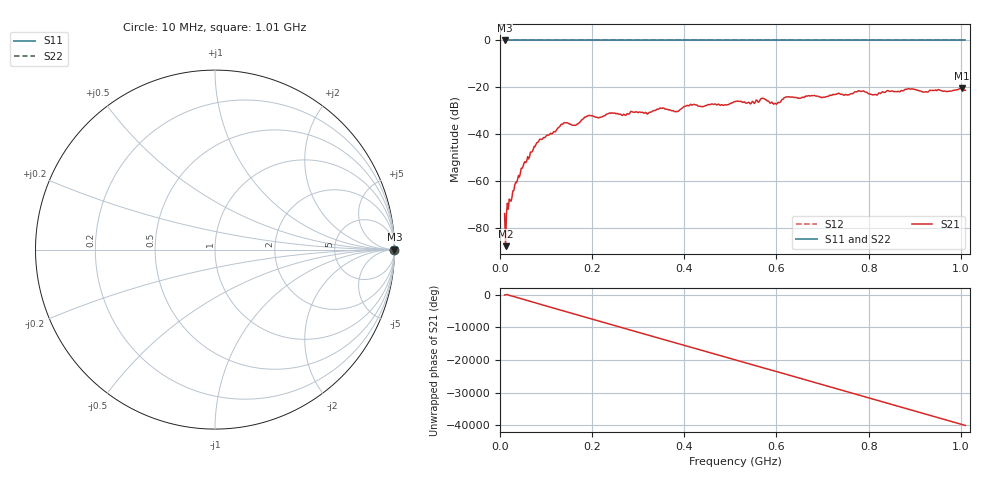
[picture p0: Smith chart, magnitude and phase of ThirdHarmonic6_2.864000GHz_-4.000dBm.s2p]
! 8/17/2025 7:48:22 AM
! C:\ANRITSUVNA\TEMP\TEMP.S2P
! CHANNEL.1
! TR.MEASUREMENT
! RAW.DATA
! RF.CORRECTION.OFF
! AVERAGING.OFF
! IF.BANDWIDTH: 5KHZ
! SWEEPTYPE:  FREQ.SWEEP(Linear)
! Reference Plane Port Info
! PORT:  PORT1  PORT2
! DISTANCE:  0  m  0  m
! TIME:  0  s  0  s
! PHASE.OFFSET:  0  deg.  0  deg.
! LOSS:  0  dB  0  dB
! REF.LOSS:  0  dB  0  dB
! REF.FREQ:  0  Hz  0  Hz
! Power Info
! POWER:  -20  dBm  -20  dBm
! EFF.POWER:  -20  dBm  -20  dBm
! SOURCE.ATTEN:  0  dB  0  dB
! TEST.ATTEN:  0  dB  0  dB
# GHZ S RI R 50.0
! FREQ.GHZ  S11RE  S11IM  S21RE  S21IM  S12RE  S12IM  S22RE  S22IM
!; PortSelection: Port_12
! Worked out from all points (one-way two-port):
!   501 points, 10 MHz to 1.01 GHz, reference 50 ohm
!   highest |S21| = -20.44 dB at 1.002 GHz (marker M1); lowest = -87.6 dB at 12 MHz (marker M2)
!   lowest |S11| = 0.0 dB at 10 MHz (marker M3)
!   |S11| at or under -10 dB: nowhere
!   |S22| runs from 0.0 to 0.0 dB; largest |S21 - S12| = 1.1
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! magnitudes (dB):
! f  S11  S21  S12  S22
! 10 MHz  0.0  -73.8  0.0  0.0
! 12 MHz  0.0  -87.6  0.0  0.0
! 50 MHz  0.0  -53.7  0.0  0.0
! 82 MHz  0.0  -43.4  0.0  0.0
! 136 MHz  0.0  -35.7  0.0  0.0
! 162 MHz  0.0  -36.2  0.0  0.0
! 178 MHz  0.0  -33.7  0.0  0.0
! 194 MHz  0.0  -31.9  0.0  0.0
! 322 MHz  0.0  -31.0  0.0  0.0
! 344 MHz  0.0  -29.3  0.0  0.0
! 382 MHz  0.0  -30.3  0.0  0.0
! 410 MHz  0.0  -27.8  0.0  0.0
! 510 MHz  0.0  -26.0  0.0  0.0
! 548 MHz  0.0  -26.0  0.0  0.0
! 570 MHz  0.0  -24.6  0.0  0.0
! 598 MHz  0.0  -26.8  0.0  0.0
! 622 MHz  0.0  -24.0  0.0  0.0
! 678 MHz  0.0  -23.5  0.0  0.0
! 814 MHz  0.0  -23.0  0.0  0.0
! 844 MHz  0.0  -21.6  0.0  0.0
! 1.002 GHz  0.0  -20.4  0.0  0.0
! 1.01 GHz  0.0  -21.2  0.0  0.0
